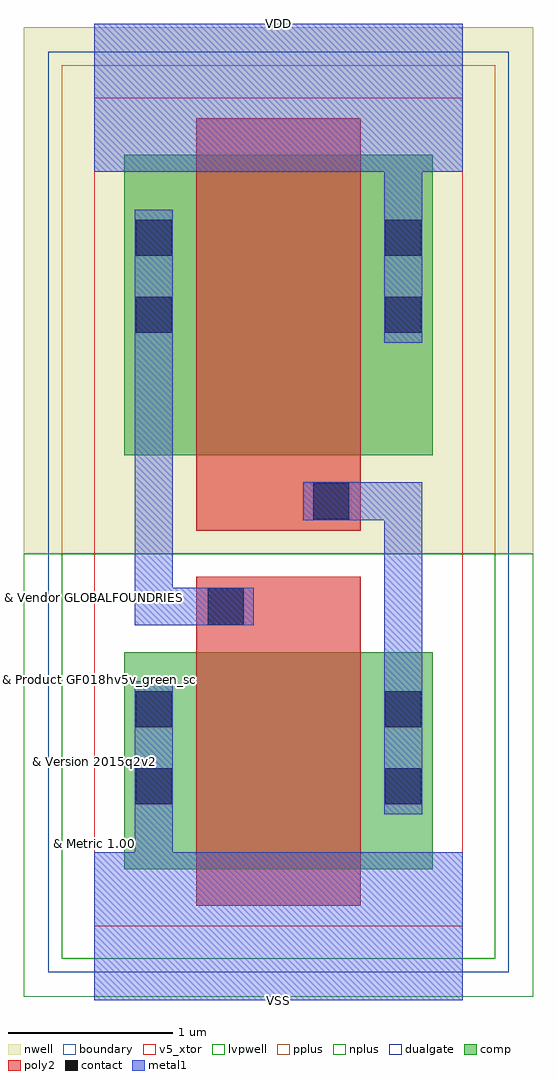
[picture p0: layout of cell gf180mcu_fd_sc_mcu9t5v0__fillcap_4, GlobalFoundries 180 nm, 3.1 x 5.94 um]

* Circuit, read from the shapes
.subckt gf180mcu_fd_sc_mcu9t5v0__fillcap_4 VDD VSS
XM1 n1 n2 VSS VSUBS nfet_05v0 w=1.32u l=1u
XM2 VDD n1 n2 n3 pfet_05v0 w=1.83u l=1u
.ends

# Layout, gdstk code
import gdstk
lib = gdstk.Library(unit=1e-6, precision=1e-09)
def R(c, l, rs):  # rectangles x0, y0, x1, y1
    for r in rs: c.add(gdstk.rectangle(r[:2], r[2:], *l))
def P(c, l, *ps):  # polygons
    for p in ps: c.add(gdstk.Polygon(p, *l))
boundary = (0, 0)
nwell = (21, 0)
comp = (22, 0)
poly2 = (30, 0)
pplus = (31, 0)
nplus = (32, 0)
contact = (33, 0)
metal1 = (34, 0)
dualgate = (55, 0)
v5_xtor = (112, 1)
lvpwell = (204, 0)

gf180mcu_fd_sc_mcu9t5v0_ = lib.new_cell('gf180mcu_fd_sc_mcu9t5v0__fillcap_4')
R(gf180mcu_fd_sc_mcu9t5v0_, boundary, [(0,0,2.24,5.04)])
R(gf180mcu_fd_sc_mcu9t5v0_, nwell, [(-0.43,2.265,2.67,5.47)])
R(gf180mcu_fd_sc_mcu9t5v0_, comp, [(0.18,0.345,2.06,1.665), (0.18,2.865,2.06,4.695)])
R(gf180mcu_fd_sc_mcu9t5v0_, poly2, [(0.62,0.125,1.62,2.125), (0.62,2.405,1.62,4.915)])
R(gf180mcu_fd_sc_mcu9t5v0_, pplus, [(-0.2,2.265,2.44,5.24)])
R(gf180mcu_fd_sc_mcu9t5v0_, nplus, [(-0.2,-0.2,2.44,2.265)])
R(gf180mcu_fd_sc_mcu9t5v0_, contact, [(0.25,0.74,0.47,0.96), (1.77,0.74,1.99,0.96), (0.25,1.21,0.47,1.43), (1.77,1.21,1.99,1.43), (0.69,1.835,0.91,2.055), (1.33,2.475,1.55,2.695), (0.25,3.61,0.47,3.83), (1.77,3.61,1.99,3.83), (0.25,4.08,0.47,4.3), (1.77,4.08,1.99,4.3)])
P(gf180mcu_fd_sc_mcu9t5v0_, metal1, [(0.245,1.83),(0.245,4.36),(0.475,4.36),(0.475,2.06),(0.97,2.06),(0.97,1.83)],
  [(1.765,0.68),(1.765,2.47),(1.27,2.47),(1.27,2.7),(1.995,2.7),(1.995,0.68)],
  [(0,-0.45),(0,0.45),(0.245,0.45),(0.245,1.49),(0.475,1.49),(0.475,0.45),(2.24,0.45),(2.24,-0.45)],
  [(1.765,3.55),(1.765,4.59),(0,4.59),(0,5.49),(2.24,5.49),(2.24,4.59),(1.995,4.59),(1.995,3.55)])
R(gf180mcu_fd_sc_mcu9t5v0_, dualgate, [(-0.28,-0.28,2.52,5.32)])
R(gf180mcu_fd_sc_mcu9t5v0_, v5_xtor, [(0,0,2.24,5.04)])
R(gf180mcu_fd_sc_mcu9t5v0_, lvpwell, [(-0.43,-0.43,2.67,2.265)])
gf180mcu_fd_sc_mcu9t5v0_.add(gdstk.Label('VDD', (1.12,5.49), layer=34, texttype=10))
gf180mcu_fd_sc_mcu9t5v0_.add(gdstk.Label('VSS', (1.12,-0.45), layer=34, texttype=10))
gf180mcu_fd_sc_mcu9t5v0_.add(gdstk.Label('& Vendor GLOBALFOUNDRIES', (0,2), layer=63, texttype=63))
gf180mcu_fd_sc_mcu9t5v0_.add(gdstk.Label('& Product GF018hv5v_green_sc9', (0,1.5), layer=63, texttype=63))
gf180mcu_fd_sc_mcu9t5v0_.add(gdstk.Label('& Version 2015q2v2', (0,1), layer=63, texttype=63))
gf180mcu_fd_sc_mcu9t5v0_.add(gdstk.Label('& Metric 1.00', (0,0.5), layer=63, texttype=63))

lib.write_gds('gf180mcu_fd_sc_mcu9t5v0__fillcap_4.gds')
